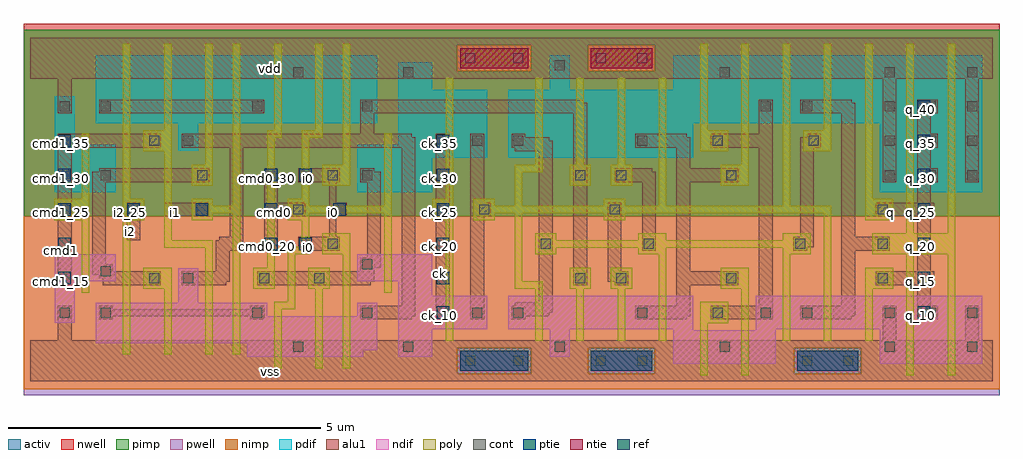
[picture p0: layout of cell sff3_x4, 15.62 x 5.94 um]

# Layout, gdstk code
import gdstk
lib = gdstk.Library(unit=1e-6, precision=2.5e-09)
def R(c, l, rs):  # rectangles x0, y0, x1, y1
    for r in rs: c.add(gdstk.rectangle(r[:2], r[2:], *l))
def A(c, l, x, y, w, h, nx, ny, dx, dy):  # array of equal rectangles
    R(c, l, [(x+i*dx, y+j*dy, x+i*dx+w, y+j*dy+h) for i in range(nx) for j in range(ny)])
ndif = (3, 0)
pdif = (4, 0)
ntie = (5, 0)
ptie = (6, 0)
ref = (24, 0)
cont = (25, 0)
pwell = (41, 0)
nwell = (42, 0)
activ = (43, 0)
pimp = (44, 0)
nimp = (45, 0)
poly = (46, 0)
alu1 = (49, 0)

sff3_x4 = lib.new_cell('sff3_x4')
R(sff3_x4, ndif, [(10.29,0.28,11.93,0.82), (10.29,0.28,11.93,0.82), (13.59,0.28,15.23,0.83), (13.59,0.28,15.23,0.83), (3.47,0.39,5.33,0.5), (3.47,0.39,5.33,0.5), (5.89,0.39,6.43,0.83), (5.89,0.39,6.43,0.83), (8.31,0.39,8.63,0.83), (8.31,0.39,8.63,0.83), (3.47,0.5,5.55,0.61), (3.47,0.5,5.55,0.61), (1.05,0.61,5.55,1.04), (1.05,0.61,5.55,1.04), (10.29,0.82,10.61,0.83), (10.29,0.82,10.61,0.83), (11.61,0.82,11.93,0.83), (11.61,0.82,11.93,0.83), (5.89,0.83,7.31,1.37), (5.89,0.83,7.31,1.37), (7.65,0.83,10.61,1.37), (7.65,0.83,10.61,1.37), (11.61,0.83,15.23,1.37), (11.61,0.83,15.23,1.37), (0.39,0.94,0.71,1.6), (0.39,0.94,0.71,1.6), (1.05,1.04,3.79,1.26), (1.05,1.04,3.79,1.26), (5.23,1.04,5.55,1.26), (5.23,1.04,5.55,1.26), (2.37,1.26,2.69,1.81), (2.37,1.26,2.69,1.81), (5.89,1.37,6.43,1.6), (5.89,1.37,6.43,1.6), (0.39,1.6,1.37,2.03), (0.39,1.6,1.37,2.03), (5.23,1.6,6.43,2.03), (5.23,1.6,6.43,2.03)])
R(sff3_x4, pdif, [(0.39,3.03,1.37,3.79), (0.39,3.03,1.37,3.79), (5.23,3.03,6.43,3.58), (5.23,3.03,6.43,3.58), (13.59,3.03,15.23,4.13), (13.59,3.03,15.23,4.13), (5.23,3.58,7.31,3.79), (5.23,3.58,7.31,3.79), (7.65,3.58,10.61,4.13), (7.65,3.58,10.61,4.13), (2.37,3.69,2.69,4.13), (2.37,3.69,2.69,4.13), (0.39,3.79,0.71,4.56), (0.39,3.79,0.71,4.56), (5.89,3.79,7.31,4.67), (5.89,3.79,7.31,4.67), (1.05,4.13,5.55,5.22), (1.05,4.13,5.55,5.22), (7.65,4.13,15.23,4.67), (7.65,4.13,15.23,4.67), (5.89,4.67,6.43,5.11), (5.89,4.67,6.43,5.11), (8.31,4.67,8.63,5.22), (8.31,4.67,8.63,5.22), (10.29,4.67,15.23,5.22), (10.29,4.67,15.23,5.22)])
R(sff3_x4, ntie, [(6.88,5.01,7.97,5.33), (6.88,5.01,7.97,5.33), (8.97,5.01,9.95,5.33), (8.97,5.01,9.95,5.33)])
R(sff3_x4, ptie, [(6.88,0.17,7.97,0.49), (6.88,0.17,7.97,0.49), (8.97,0.17,9.95,0.49), (8.97,0.17,9.95,0.49), (12.27,0.17,13.25,0.49), (12.27,0.17,13.25,0.49)])
A(sff3_x4, ref, 6.5, 1, 0.2, 0.2, 1, 6, 0, 0.55)
A(sff3_x4, ref, 14.2, 1, 0.2, 0.2, 1, 7, 0, 0.55)
A(sff3_x4, ref, 0.45, 2.65, 0.2, 0.2, 5, 1, 1.1, 0)
R(sff3_x4, ref, [(0.45,1.55,0.65,1.75), (0.45,2.1,0.65,2.3), (3.75,2.1,3.95,2.3), (4.3,2.1,4.5,2.3), (0.45,3.2,0.65,3.4), (3.75,3.2,3.95,3.4), (4.3,3.2,4.5,3.4), (0.45,3.75,0.65,3.95)])
A(sff3_x4, cont, 4.21, 0.47, 0.16, 0.16, 1, 3, 0, 2.2)
A(sff3_x4, cont, 8.39, 0.47, 0.16, 0.16, 3, 1, 2.64, 0)
A(sff3_x4, cont, 3.55, 1.02, 0.16, 0.16, 3, 1, 1.76, 0)
A(sff3_x4, cont, 13.67, 1.02, 0.16, 0.16, 3, 2, 0.66, 2.2)
A(sff3_x4, cont, 13.56, 1.57, 0.16, 0.16, 1, 3, 0, 0.55)
A(sff3_x4, cont, 0.47, 2.67, 0.16, 0.16, 3, 1, 1.1, 0)
A(sff3_x4, cont, 13.67, 3.77, 0.16, 0.16, 3, 2, 0.66, 0.55)
R(sff3_x4, cont, [(6.96,0.25,7.12,0.41), (7.73,0.25,7.89,0.41), (9.05,0.25,9.21,0.41), (9.71,0.25,9.87,0.41), (12.35,0.25,12.51,0.41), (13.01,0.25,13.17,0.41), (5.97,0.47,6.13,0.63), (14.99,0.47,15.15,0.63), (0.47,1.02,0.63,1.18), (1.13,1.02,1.29,1.18), (7.73,1.02,7.89,1.18), (9.71,1.02,9.87,1.18), (10.92,1.02,11.08,1.18), (11.69,1.02,11.85,1.18), (12.35,1.02,12.51,1.18), (1.9,1.57,2.06,1.73), (2.45,1.57,2.61,1.73), (3.66,1.57,3.82,1.73), (4.54,1.57,4.7,1.73), (8.72,1.57,8.88,1.73), (9.38,1.57,9.54,1.73), (11.14,1.57,11.3,1.73), (1.13,1.68,1.29,1.84), (5.31,1.79,5.47,1.95), (4.76,2.12,4.92,2.28), (8.17,2.12,8.33,2.28), (9.82,2.12,9.98,2.28), (12.24,2.12,12.4,2.28), (6.52,2.67,6.68,2.83), (7.18,2.67,7.34,2.83), (9.27,2.67,9.43,2.83), (1.13,3.22,1.29,3.38), (2.67,3.22,2.83,3.38), (4.76,3.22,4.92,3.38), (5.31,3.22,5.47,3.38), (8.72,3.22,8.88,3.38), (9.38,3.22,9.54,3.38), (11.14,3.22,11.3,3.38), (1.9,3.77,2.06,3.93), (2.45,3.77,2.61,3.93), (7.07,3.77,7.23,3.93), (7.73,3.77,7.89,3.93), (9.71,3.77,9.87,3.93), (10.92,3.77,11.08,3.93), (12.46,3.77,12.62,3.93), (0.47,4.32,0.63,4.48), (1.13,4.32,1.29,4.48), (3.55,4.32,3.71,4.48), (5.31,4.32,5.47,4.48), (11.69,4.32,11.85,4.48), (12.35,4.32,12.51,4.48), (5.97,4.87,6.13,5.03), (11.03,4.87,11.19,5.03), (13.67,4.87,13.83,5.03), (14.99,4.87,15.15,5.03), (8.39,4.98,8.55,5.14), (6.96,5.09,7.12,5.25), (7.73,5.09,7.89,5.25), (9.05,5.09,9.21,5.25), (9.71,5.09,9.87,5.25)])
R(sff3_x4, pwell, [(-0.11,-0.22,15.51,2.64)])
R(sff3_x4, nwell, [(-0.11,2.64,15.51,5.72)])
R(sff3_x4, activ, [(6.88,0.17,7.97,0.49), (6.88,0.17,7.97,0.49), (8.97,0.17,9.95,0.49), (8.97,0.17,9.95,0.49), (12.27,0.17,13.25,0.49), (12.27,0.17,13.25,0.49), (10.29,0.28,11.93,0.82), (10.29,0.28,11.93,0.82), (13.59,0.28,15.23,0.83), (13.59,0.28,15.23,0.83), (3.47,0.39,5.33,0.5), (3.47,0.39,5.33,0.5), (5.89,0.39,6.43,0.83), (5.89,0.39,6.43,0.83), (8.31,0.39,8.63,0.83), (8.31,0.39,8.63,0.83), (3.47,0.5,5.55,0.61), (3.47,0.5,5.55,0.61), (1.05,0.61,5.55,1.04), (1.05,0.61,5.55,1.04), (10.29,0.82,10.61,0.83), (10.29,0.82,10.61,0.83), (11.61,0.82,11.93,0.83), (11.61,0.82,11.93,0.83), (5.89,0.83,7.31,1.37), (5.89,0.83,7.31,1.37), (7.65,0.83,10.61,1.37), (7.65,0.83,10.61,1.37), (11.61,0.83,15.23,1.37), (11.61,0.83,15.23,1.37), (0.39,0.94,0.71,1.6), (0.39,0.94,0.71,1.6), (1.05,1.04,3.79,1.26), (1.05,1.04,3.79,1.26), (5.23,1.04,5.55,1.26), (5.23,1.04,5.55,1.26), (2.37,1.26,2.69,1.81), (2.37,1.26,2.69,1.81), (5.89,1.37,6.43,1.6), (5.89,1.37,6.43,1.6), (0.39,1.6,1.37,2.03), (0.39,1.6,1.37,2.03), (5.23,1.6,6.43,2.03), (5.23,1.6,6.43,2.03), (0.39,3.03,1.37,3.79), (0.39,3.03,1.37,3.79), (5.23,3.03,6.43,3.58), (5.23,3.03,6.43,3.58), (13.59,3.03,15.23,4.13), (13.59,3.03,15.23,4.13), (5.23,3.58,7.31,3.79), (5.23,3.58,7.31,3.79), (7.65,3.58,10.61,4.13), (7.65,3.58,10.61,4.13), (2.37,3.69,2.69,4.13), (2.37,3.69,2.69,4.13), (0.39,3.79,0.71,4.56), (0.39,3.79,0.71,4.56), (5.89,3.79,7.31,4.67), (5.89,3.79,7.31,4.67), (1.05,4.13,5.55,5.22), (1.05,4.13,5.55,5.22), (7.65,4.13,15.23,4.67), (7.65,4.13,15.23,4.67), (5.89,4.67,6.43,5.11), (5.89,4.67,6.43,5.11), (8.31,4.67,8.63,5.22), (8.31,4.67,8.63,5.22), (10.29,4.67,15.23,5.22), (10.29,4.67,15.23,5.22), (6.88,5.01,7.97,5.33), (6.88,5.01,7.97,5.33), (8.97,5.01,9.95,5.33), (8.97,5.01,9.95,5.33)])
R(sff3_x4, pimp, [(6.835,0.125,8.015,0.535), (8.925,0.125,9.995,0.535), (12.225,0.125,13.295,0.535), (-0.11,2.64,15.51,4.965), (-0.11,4.965,6.835,5.375), (8.015,4.965,8.925,5.375), (9.995,4.965,15.51,5.375), (-0.11,5.375,15.51,5.625)])
R(sff3_x4, nimp, [(-0.11,-0.125,15.51,0.125), (-0.11,0.125,6.835,0.535), (8.015,0.125,8.925,0.535), (9.995,0.125,12.225,0.535), (13.295,0.125,15.51,0.535), (-0.11,0.535,15.51,2.64), (6.835,4.965,8.015,5.375), (8.925,4.965,9.995,5.375)])
A(sff3_x4, poly, 8.08, 0.65, 0.12, 0.83, 3, 1, 0.66, 0)
A(sff3_x4, poly, 8.08, 3.47, 0.12, 1.38, 3, 1, 0.66, 0)
R(sff3_x4, poly, [(10.72,0.1,10.84,0.93), (11.38,0.1,11.5,1.48), (14.02,0.1,14.14,2.03), (14.68,0.1,14.8,2.03), (3.9,0.21,4.02,1.15), (4.56,0.21,4.68,1.48), (5,0.21,5.12,2.03), (1.48,0.43,1.6,2.58), (2.14,0.43,2.26,1.48), (2.8,0.43,2.92,2.14), (3.24,0.43,3.36,2.69), (6.65,0.65,6.77,2.58), (10.06,0.65,10.18,2.03), (12.04,0.65,12.16,2.03), (12.7,0.65,12.82,2.69), (13.36,0.65,13.48,1.48), (10.72,0.93,11.17,1.27), (3.9,1.15,4.24,1.27), (4.12,1.27,4.24,2.03), (0.82,1.42,0.94,2.58), (5.66,1.42,5.78,2.69), (1.81,1.48,2.26,1.82), (3.57,1.48,3.91,1.82), (4.45,1.48,4.79,1.82), (7.75,1.48,8.2,1.6), (8.63,1.48,8.97,1.82), (9.29,1.48,9.63,1.82), (11.05,1.48,11.5,1.82), (13.36,1.48,13.81,1.82), (7.75,1.6,7.87,2.69), (3.79,1.82,3.91,3.9), (4.12,2.03,4.46,2.15), (4.67,2.03,5.12,2.37), (8.08,2.03,8.42,2.14), (9.73,2.03,10.18,2.14), (12.04,2.03,12.49,2.14), (13.47,2.03,14.8,2.37), (2.14,2.14,2.92,2.26), (8.08,2.14,12.49,2.26), (4.34,2.15,4.46,2.58), (2.14,2.26,2.26,3.68), (8.08,2.26,8.42,2.37), (9.73,2.26,10.18,2.37), (12.04,2.26,12.49,2.37), (14.02,2.37,14.14,5.4), (14.68,2.37,14.8,5.4), (0.38,2.58,0.94,2.92), (1.48,2.58,1.82,2.92), (2.58,2.58,2.92,2.69), (4.12,2.58,4.46,2.69), (6.43,2.58,6.77,2.92), (7.09,2.58,7.43,2.69), (9.18,2.58,9.52,2.69), (13.36,2.58,13.81,2.92), (2.58,2.69,3.36,2.81), (4.12,2.69,5.78,2.81), (7.09,2.69,12.82,2.81), (2.58,2.81,2.92,2.92), (3.24,2.81,3.36,5.4), (4.12,2.81,4.46,2.92), (5.66,2.81,5.78,3.97), (7.09,2.81,7.43,2.92), (7.75,2.81,7.87,3.35), (9.18,2.81,9.52,2.92), (10.06,2.81,10.18,4.85), (12.04,2.81,12.16,5.4), (0.82,2.92,0.94,3.97), (1.48,2.92,1.6,5.4), (4.34,2.92,4.46,3.9), (6.65,2.92,6.77,4.85), (13.36,2.92,13.48,5.4), (2.58,3.13,2.92,3.47), (4.67,3.13,5.12,3.47), (8.63,3.13,8.97,3.47), (9.29,3.13,9.63,3.47), (11.05,3.13,11.5,3.47), (7.75,3.35,8.2,3.47), (2.8,3.47,2.92,5.4), (5,3.47,5.12,5.4), (11.38,3.47,11.5,5.4), (1.81,3.68,2.26,4.02), (10.72,3.68,11.17,4.02), (12.37,3.68,12.82,4.02), (3.79,3.9,4.02,4.02), (4.34,3.9,4.68,4.02), (2.14,4.02,2.26,5.4), (3.9,4.02,4.02,5.4), (4.56,4.02,4.68,5.4), (10.72,4.02,10.84,5.4), (12.7,4.02,12.82,5.4)])
A(sff3_x4, alu1, 14.19, 2.86, 0.22, 0.33, 1, 3, 0, 0.55)
A(sff3_x4, alu1, 14.19, 3.19, 0.33, 0.22, 1, 3, 0, 0.55)
R(sff3_x4, alu1, [(0,0,15.4,0.66), (0.44,0.66,0.66,1.21), (13.64,0.66,13.86,1.21), (14.96,0.66,15.18,1.21), (1.1,0.99,1.32,1.045), (3.52,0.99,3.74,1.045), (5.28,0.99,6.105,1.045), (6.49,0.99,6.71,3.96), (7.04,0.99,7.26,2.64), (7.7,0.99,7.92,1.045), (9.68,0.99,10.505,1.045), (10.89,0.99,11.88,1.21), (12.32,0.99,13.145,1.045), (14.19,0.99,14.52,1.21), (1.1,1.045,3.74,1.155), (5.28,1.045,6.16,1.21), (7.7,1.045,8.305,1.1), (9.68,1.045,10.56,1.21), (12.32,1.045,13.2,1.21), (7.7,1.1,8.36,1.21), (1.1,1.155,1.32,1.21), (3.52,1.155,3.74,1.21), (5.94,1.21,6.16,3.74), (7.755,1.21,8.36,1.265), (10.34,1.21,10.56,1.54), (11.66,1.21,11.88,3.74), (12.98,1.21,13.2,2.09), (14.19,1.21,14.41,1.54), (8.14,1.265,8.36,3.685), (0.44,1.54,0.66,3.74), (1.155,1.54,2.09,1.65), (2.42,1.54,3.135,1.595), (3.63,1.54,5.445,1.595), (8.69,1.54,8.91,4.29), (9.35,1.54,9.57,1.595), (10.34,1.54,11.33,1.76), (13.53,1.54,14.465,1.76), (2.42,1.595,3.19,1.76), (3.63,1.595,5.5,1.76), (9.24,1.595,9.57,1.76), (1.1,1.65,2.09,1.705), (0.99,1.705,2.09,1.76), (0.99,1.76,1.32,1.87), (2.97,1.76,3.19,2.09), (5.28,1.76,5.5,1.815), (9.24,1.76,9.46,2.86), (10.34,1.76,10.56,3.19), (14.19,1.76,14.41,2.64), (5.28,1.815,5.61,1.98), (0.99,1.87,1.21,3.19), (5.39,1.98,5.61,3.19), (2.97,2.09,3.355,2.145), (3.74,2.09,3.96,2.64), (4.29,2.09,4.95,2.31), (9.79,2.09,10.01,3.19), (12.21,2.09,12.43,2.145), (12.98,2.09,13.75,2.31), (2.97,2.145,3.41,2.255), (12.21,2.145,12.54,2.31), (1.54,2.255,1.76,2.86), (3.025,2.255,3.41,2.31), (3.19,2.31,3.41,3.74), (4.785,2.31,4.895,2.64), (12.32,2.31,12.54,3.74), (12.98,2.31,13.2,4.29), (2.145,2.64,2.86,2.86), (3.74,2.64,4.4,2.86), (4.785,2.64,5.06,2.86), (7.04,2.64,7.37,2.86), (13.53,2.64,14.465,2.86), (3.74,2.86,3.96,3.41), (4.785,2.86,4.895,3.19), (7.04,2.86,7.26,3.96), (0.99,3.19,2.86,3.355), (4.29,3.19,4.95,3.41), (5.28,3.19,5.61,3.355), (9.35,3.19,10.01,3.355), (10.34,3.19,11.33,3.41), (13.64,3.19,13.86,4.84), (14.96,3.19,15.18,4.84), (1.1,3.355,2.86,3.41), (5.28,3.355,5.5,3.41), (9.35,3.355,9.955,3.41), (10.34,3.41,10.56,3.74), (7.755,3.685,8.36,3.74), (0.44,3.74,2.09,3.96), (2.42,3.74,6.16,3.905), (7.7,3.74,8.36,3.85), (9.68,3.74,10.56,3.905), (10.89,3.74,11.88,3.96), (12.32,3.74,12.65,3.905), (7.7,3.85,8.305,3.905), (2.42,3.905,6.105,3.96), (7.7,3.905,7.92,3.96), (9.68,3.905,10.505,3.96), (12.43,3.905,12.65,3.96), (5.28,3.96,5.5,4.29), (11.66,3.96,11.88,4.51), (0.44,4.29,0.66,4.84), (1.1,4.29,3.74,4.51), (5.28,4.29,8.91,4.455), (12.32,4.29,13.2,4.455), (5.28,4.455,8.855,4.51), (12.32,4.455,13.145,4.51), (0,4.84,15.4,5.5)])
sff3_x4.add(gdstk.Label('vss', (3.85,0.165), layer=49, texttype=0))
sff3_x4.add(gdstk.Label('q', (13.7625,2.695), layer=49, texttype=0))
sff3_x4.add(gdstk.Label('ck', (6.545,1.7325), layer=49, texttype=0))
sff3_x4.add(gdstk.Label('i0', (4.455,2.145), layer=49, texttype=0))
sff3_x4.add(gdstk.Label('i0', (4.8525,2.695), layer=49, texttype=0))
sff3_x4.add(gdstk.Label('cmd0', (3.905,2.695), layer=49, texttype=0))
sff3_x4.add(gdstk.Label('i0', (4.455,3.245), layer=49, texttype=0))
sff3_x4.add(gdstk.Label('i1', (2.3225,2.695), layer=49, texttype=0))
sff3_x4.add(gdstk.Label('i2', (1.595,2.405), layer=49, texttype=0))
sff3_x4.add(gdstk.Label('cmd1', (0.495,2.09), layer=49, texttype=0))
sff3_x4.add(gdstk.Label('vdd', (3.85,5.005), layer=49, texttype=0))
sff3_x4.add(gdstk.Label('ck_10', (6.55,1.05), layer=24, texttype=0))
sff3_x4.add(gdstk.Label('ck_35', (6.55,3.8), layer=24, texttype=0))
sff3_x4.add(gdstk.Label('ck_30', (6.55,3.25), layer=24, texttype=0))
sff3_x4.add(gdstk.Label('ck_25', (6.55,2.7), layer=24, texttype=0))
sff3_x4.add(gdstk.Label('ck_15', (6.55,1.6), layer=24, texttype=0))
sff3_x4.add(gdstk.Label('ck_20', (6.55,2.15), layer=24, texttype=0))
sff3_x4.add(gdstk.Label('q_10', (14.25,1.05), layer=24, texttype=0))
sff3_x4.add(gdstk.Label('q_30', (14.25,3.25), layer=24, texttype=0))
sff3_x4.add(gdstk.Label('q_25', (14.25,2.7), layer=24, texttype=0))
sff3_x4.add(gdstk.Label('q_15', (14.25,1.6), layer=24, texttype=0))
sff3_x4.add(gdstk.Label('q_20', (14.25,2.15), layer=24, texttype=0))
sff3_x4.add(gdstk.Label('q_40', (14.25,4.35), layer=24, texttype=0))
sff3_x4.add(gdstk.Label('q_35', (14.25,3.8), layer=24, texttype=0))
sff3_x4.add(gdstk.Label('cmd1_15', (0.5,1.6), layer=24, texttype=0))
sff3_x4.add(gdstk.Label('cmd1_20', (0.5,2.15), layer=24, texttype=0))
sff3_x4.add(gdstk.Label('cmd1_25', (0.5,2.7), layer=24, texttype=0))
sff3_x4.add(gdstk.Label('cmd1_30', (0.5,3.25), layer=24, texttype=0))
sff3_x4.add(gdstk.Label('cmd1_35', (0.5,3.8), layer=24, texttype=0))
sff3_x4.add(gdstk.Label('i2_25', (1.6,2.7), layer=24, texttype=0))
sff3_x4.add(gdstk.Label('i1_25', (2.7,2.7), layer=24, texttype=0))
sff3_x4.add(gdstk.Label('cmd0_20', (3.8,2.15), layer=24, texttype=0))
sff3_x4.add(gdstk.Label('cmd0_25', (3.8,2.7), layer=24, texttype=0))
sff3_x4.add(gdstk.Label('cmd0_30', (3.8,3.25), layer=24, texttype=0))
sff3_x4.add(gdstk.Label('i0_20', (4.35,2.15), layer=24, texttype=0))
sff3_x4.add(gdstk.Label('i0_30', (4.35,3.25), layer=24, texttype=0))
sff3_x4.add(gdstk.Label('i0_25', (4.9,2.7), layer=24, texttype=0))

lib.write_gds('sff3_x4.gds')
